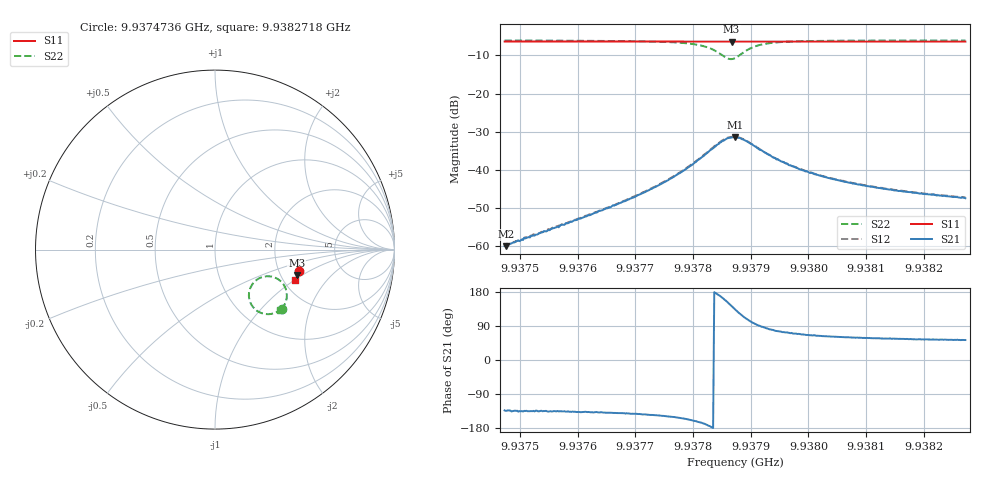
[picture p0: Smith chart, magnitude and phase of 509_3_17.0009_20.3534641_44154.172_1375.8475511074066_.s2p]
#  HZ  S  RI  R  50.00
! Rohde & Schwarz Vector Network Analyzer
! Rohde-Schwarz,ZNB20-2Port,1311601062101988,3.16
! Created: UTC 3/20/2024, 11:14:56 PM
! freq[Hz]  re:S11  im:S11  re:S21  im:S21  re:S12  im:S12  re:S22  im:S22
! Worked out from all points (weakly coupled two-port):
!   401 points, 9.9374736 GHz to 9.9382718 GHz, reference 50 ohm
!   highest |S21| = -31.35 dB at 9.9378727 GHz (marker M1); lowest = -59.9 dB at 9.9374756 GHz (marker M2)
!   lowest |S11| = -6.4 dB at 9.9378667 GHz (marker M3), VSWR 2.83, Z = 122 - j45.4 ohm
!   |S11| at or under -10 dB: nowhere
!   |S22| runs from -11.0 to -6.1 dB; largest |S21 - S12| = 0.0011
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9.9374736e9  0.4677 -0.1198  -0.00069 -0.000738  -0.000707 -0.000723  0.3725 -0.3285
9.9374756e9  0.4678 -0.12  -0.000703 -0.000721  -0.000716 -0.000746  0.3722 -0.3285
9.9376073e9  0.4647 -0.1288  -0.00174 -0.00159  -0.0018 -0.0016  0.3567 -0.3406
9.93768712e9  0.4629 -0.1343  -0.00318 -0.00258  -0.00328 -0.00254  0.3401 -0.3499
9.937741e9  0.4612 -0.1379  -0.00529 -0.00351  -0.00546 -0.0035  0.3192 -0.3571
9.93778091e9  0.4598 -0.1407  -0.00853 -0.00421  -0.00877 -0.00414  0.2906 -0.3598
9.93782082e9  0.458 -0.1432  -0.0156 -0.00309  -0.016 -0.00267  0.2339 -0.3411
9.93783479e9  0.4573 -0.1438  -0.0193 -0.000287  -0.0197 0.000299  0.2075 -0.3143
9.93784876e9  0.4565 -0.1442  -0.0227 0.00533  -0.0231 0.00597  0.1894 -0.2651
9.93785873e9  0.456 -0.1441  -0.0233 0.0114  -0.0233 0.0123  0.1951 -0.2178
9.93786671e9  0.4558 -0.1439  -0.0213 0.0162  -0.0211 0.0172  0.2173 -0.1818
9.9378727e9  0.456 -0.144  -0.0187 0.0196  -0.0184 0.0203  0.2426 -0.1618
9.93788268e9  0.4563 -0.1442  -0.0131 0.0224  -0.0125 0.0231  0.291 -0.1484
9.93789665e9  0.4569 -0.1448  -0.00574 0.0222  -0.0052 0.0226  0.3472 -0.1622
9.9379186e9  0.4572 -0.1467  0.000674 0.0181  0.00113 0.0181  0.3885 -0.2054
9.93794055e9  0.4569 -0.1485  0.00293 0.0141  0.00327 0.0142  0.3995 -0.2397
9.93796848e9  0.4563 -0.1506  0.00381 0.0109  0.00409 0.0108  0.3997 -0.2678
9.9380064e9  0.4555 -0.1533  0.00392 0.00832  0.00399 0.00822  0.3948 -0.2902
9.93806427e9  0.4539 -0.1574  0.00348 0.00605  0.00366 0.00606  0.3859 -0.3092
9.9381401e9  0.4519 -0.1623  0.00304 0.00464  0.00321 0.00462  0.377 -0.3234
9.93820196e9  0.4503 -0.1665  0.00282 0.00394  0.00292 0.00395  0.3709 -0.3311
9.9382718e9  0.4482 -0.1708  0.00259 0.0034  0.00273 0.00343  0.3649 -0.3378
